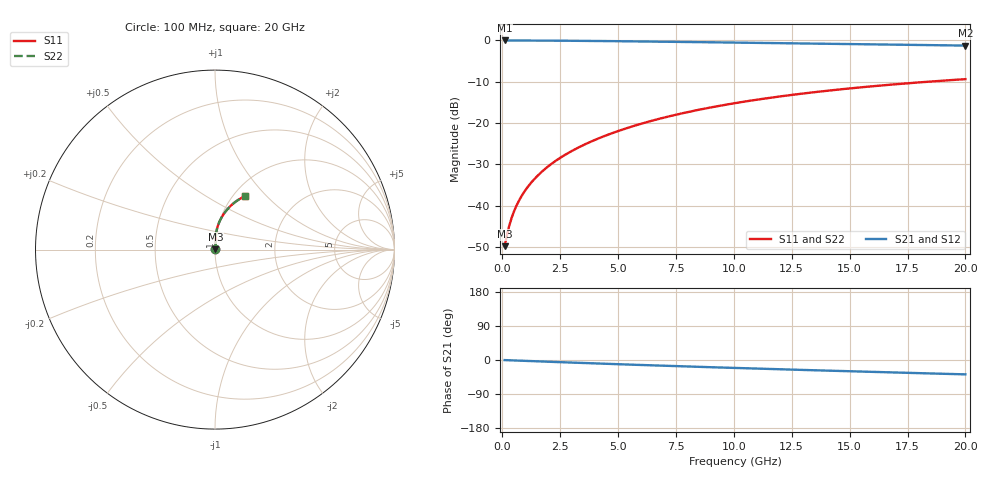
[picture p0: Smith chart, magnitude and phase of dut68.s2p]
! Touchstone file exported from HFSS 2024.1.0
!  File:  C:/UserFiles/LocalFiles/RDL_TSV_Batchsim/temp_RDL_bottom_68_1778693708.aedt
!  Generated:  01:38:08 AM May 14, 2026
!  Design:  RDL_bottom
!  Project:  temp_RDL_bottom_68_1778693708
!  Setup:  Setup1
!  Solution:  Sweep
! Variables:
!  dtsv = 10.80580581um
!  hbump = 3um
!  htsv = 91.98um
!  ldown = 513.28um
!  lrdl = 100um
!  p = 40
!  p1 = 56.31um
!  rhole = 1um
!  t = 450um
!  tdown = 2.77um
!  trdl = 3.915915916um
!  wdown = 26.68um
!  wrdl = 20um
# GHz S MA R 50.000000
! Terminal data exported
! Port[1] = RDL1_T1
! Port[2] = RDL1_T2
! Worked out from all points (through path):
!   200 points, 100 MHz to 20 GHz, reference 50 ohm
!   highest |S21| = -0.02 dB at 100 MHz (marker M1); lowest = -1.3 dB at 20 GHz (marker M2)
!   group delay of S21, straight-line fit = 5.21 ps
!   lowest |S11| = -49.8 dB at 100 MHz (marker M3), VSWR 1.01, Z = 50.3 + j0.168 ohm
!   |S11| at or under -10 dB: start of sweep to 18.43 GHz
!   |S22| runs from -49.8 to -9.4 dB; largest |S21 - S12| = 3.1e-15
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0.1  0.003223 31.3  0.9972 -0.2  0.9972 -0.2  0.003223 31.3
! Gamma 0 0 0 0
! Port Impedance 50 0 50 0
0.2  0.004367 48.9  0.9971 -0.5  0.9971 -0.5  0.004367 48.9
0.3  0.005696 58.1  0.9969 -0.7  0.9969 -0.7  0.005696 58.1
0.4  0.007059 63.6  0.9967 -1.0  0.9967 -1.0  0.007059 63.6
0.5  0.008427 67.4  0.9965 -1.2  0.9965 -1.2  0.008427 67.4
0.6  0.009799 70.3  0.9963 -1.4  0.9963 -1.4  0.009799 70.3
0.8  0.01257 74.4  0.9959 -1.9  0.9959 -1.9  0.01257 74.4
1.1  0.01681 78.3  0.9953 -2.6  0.9953 -2.6  0.01681 78.3
1.3  0.01969 80.1  0.9948 -3.0  0.9948 -3.0  0.01969 80.1
1.6  0.02409 82.1  0.994 -3.7  0.994 -3.7  0.02409 82.1
2.1  0.03161 84.2  0.9924 -4.8  0.9924 -4.8  0.03161 84.2
2.7  0.04095 85.7  0.9899 -6.2  0.9899 -6.2  0.04094 85.7
3.5  0.05393 86.6  0.9859 -7.9  0.9859 -7.9  0.05392 86.6
4.2  0.06576 86.8  0.9819 -9.4  0.9819 -9.4  0.06575 86.8
5  0.07977 86.6  0.9768 -11.1  0.9768 -11.1  0.07976 86.6
6.8  0.1127 84.8  0.9642 -14.8  0.9642 -14.8  0.1127 84.8
8.4  0.1427 82.3  0.9523 -17.9  0.9523 -17.9  0.1427 82.3
10.1  0.1747 79.3  0.9395 -21.1  0.9395 -21.1  0.1746 79.3
11.7  0.2041 76.3  0.9273 -24.0  0.9273 -24.0  0.2041 76.3
13.4  0.2345 73.0  0.9143 -27.0  0.9143 -27.0  0.2344 73.0
16.7  0.2896 66.8  0.8892 -32.6  0.8892 -32.6  0.2895 66.8
20  0.3391 61.0  0.8643 -37.9  0.8643 -37.9  0.339 61.0
